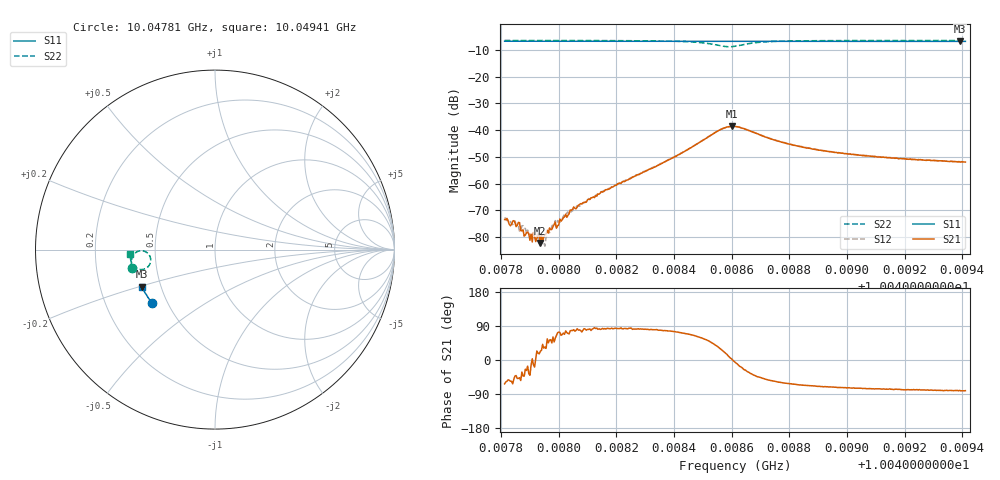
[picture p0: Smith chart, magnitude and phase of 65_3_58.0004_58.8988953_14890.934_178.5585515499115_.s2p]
#  HZ  S  RI  R  50.00
! Rohde & Schwarz Vector Network Analyzer
! Rohde-Schwarz,ZNB20-2Port,1311601062101988,3.16
! Created: UTC 3/21/2024, 12:53:10 AM
! freq[Hz]  re:S11  im:S11  re:S21  im:S21  re:S12  im:S12  re:S22  im:S22
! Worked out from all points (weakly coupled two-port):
!   401 points, 10.04781 GHz to 10.04941 GHz, reference 50 ohm
!   highest |S21| = -38.60 dB at 10.0486 GHz (marker M1); lowest = -82.2 dB at 10.04794 GHz (marker M2)
!   lowest |S11| = -6.8 dB at 10.04939 GHz (marker M3), VSWR 2.68, Z = 19.6 - j10.2 ohm
!   |S11| at or under -10 dB: nowhere
!   |S22| runs from -8.8 to -6.5 dB; largest |S21 - S12| = 0.00089
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1.0047813e10  -0.3525 -0.2952  9.66e-05 -0.000188  0.000127 -0.000193  -0.464 -0.1028
1.0047833e10  -0.3534 -0.2941  9.09e-05 -0.000134  0.000126 -0.000148  -0.4641 -0.1011
1.0047857e10  -0.3543 -0.2927  0.00011 -0.000125  0.000124 -9e-05  -0.4645 -0.0992
1.0047877e10  -0.3551 -0.2918  0.000101 -9.13e-05  0.000134 -9.19e-05  -0.4647 -0.0977
1.0047913e10  -0.3567 -0.2899  0.000118 -2.56e-05  0.000114 3.22e-05  -0.4651 -0.0947
1.0047937e10  -0.3575 -0.2885  7.13e-05 3.01e-05  6.59e-05 4.46e-05  -0.4655 -0.0927
1.0047961e10  -0.3586 -0.2872  7.53e-05 0.00011  0.000102 7.14e-05  -0.4656 -0.0907
1.0047981e10  -0.3592 -0.2862  7.63e-05 0.000136  8.26e-05 0.000151  -0.4658 -0.089
1.0048001e10  -0.3601 -0.2851  4.72e-05 0.000162  7.03e-05 0.000181  -0.466 -0.0869
1.0048025e10  -0.3611 -0.2839  6.1e-05 0.000257  6.07e-05 0.000256  -0.4662 -0.085
1.0048048e10  -0.362 -0.2826  7.06e-05 0.000322  5.4e-05 0.000303  -0.4664 -0.0827
1.004808e10  -0.3633 -0.2807  0.000114 0.000398  3.19e-05 0.00042  -0.4666 -0.0798
1.0048144e10  -0.3658 -0.2776  0.000107 0.00065  5.09e-05 0.00068  -0.4668 -0.0732
1.0048348e10  -0.3734 -0.2661  0.000448 0.0022  0.000291 0.00223  -0.4628 -0.0455
1.0048556e10  -0.3803 -0.2542  0.00831 0.00534  0.00798 0.00584  -0.3835 -0.0139
1.00486e10  -0.3814 -0.252  0.0117 0.000611  0.0116 0.00134  -0.3581 -0.0617
1.0048612e10  -0.3818 -0.2517  0.0116 -0.00118  0.0116 -0.000368  -0.3617 -0.0774
1.0048708e10  -0.3855 -0.2467  0.00514 -0.00579  0.0056 -0.00551  -0.431 -0.1074
1.004888e10  -0.3917 -0.2369  0.00166 -0.0041  0.00192 -0.00409  -0.4638 -0.0747
1.0049147e10  -0.4003 -0.2213  0.00072 -0.00297  0.000861 -0.00292  -0.472 -0.0442
1.0049391e10  -0.4074 -0.2068  0.000431 -0.0025  0.000539 -0.00251  -0.4742 -0.0238
1.0049411e10  -0.408 -0.2056  0.0004 -0.00249  0.00053 -0.0025  -0.4743 -0.0221
